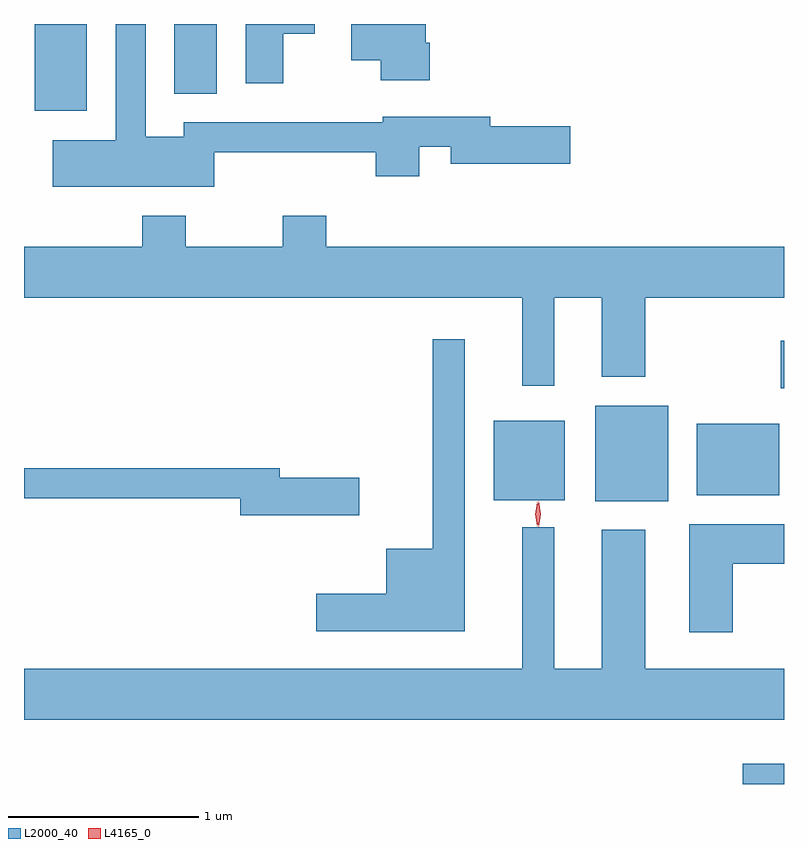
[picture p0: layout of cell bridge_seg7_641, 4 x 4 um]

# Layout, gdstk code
import gdstk
lib = gdstk.Library(unit=1e-6, precision=1e-09)
def R(c, l, rs):  # rectangles x0, y0, x1, y1
    for r in rs: c.add(gdstk.rectangle(r[:2], r[2:], *l))
def P(c, l, *ps):  # polygons
    for p in ps: c.add(gdstk.Polygon(p, *l))
L2000_40 = (2000, 40)
L4165_0 = (4165, 0)

bridge_seg7_641 = lib.new_cell('bridge_seg7_641')
R(bridge_seg7_641, L2000_40, [(872.811,1709.537,873.029,1709.644), (872.036,1711.026,872.419,1711.529), (871.501,1711.031,871.874,1711.449), (872.571,1711.056,873.004,1711.434), (873.011,1711.621,873.029,1711.869), (869.086,1713.081,869.359,1713.537), (869.821,1713.171,870.044,1713.537)])
P(bridge_seg7_641, L2000_40, [(871.164,1713.439),(871.144,1713.439),(871.144,1713.537),(870.751,1713.537),(870.751,1713.346),(870.906,1713.346),(870.906,1713.241),(871.164,1713.241)],
  [(870.029,1712.861),(870.881,1712.861),(870.881,1712.736),(871.109,1712.736),(871.109,1712.891),(871.276,1712.891),(871.276,1712.801),(871.904,1712.801),(871.904,1712.999),(871.484,1712.999),(871.484,1713.049),(870.916,1713.049),(870.916,1713.019),(869.871,1713.019),(869.871,1712.944),(869.669,1712.944),(869.669,1713.537),(869.511,1713.537),(869.511,1712.924),(869.181,1712.924),(869.181,1712.681),(870.029,1712.681)],
  [(870.394,1713.486),(870.559,1713.486),(870.559,1713.537),(870.196,1713.537),(870.196,1713.226),(870.394,1713.226)],
  [(871.819,1712.096),(872.071,1712.096),(872.071,1711.681),(872.299,1711.681),(872.299,1712.096),(873.029,1712.096),(873.029,1712.364),(870.619,1712.364),(870.619,1712.529),(870.391,1712.529),(870.391,1712.364),(869.879,1712.364),(869.879,1712.529),(869.651,1712.529),(869.651,1712.364),(869.029,1712.364),(869.029,1712.096),(871.651,1712.096),(871.651,1711.633),(871.819,1711.633)],
  [(871.349,1711.878),(871.181,1711.878),(871.181,1710.774),(870.936,1710.774),(870.936,1710.539),(870.566,1710.539),(870.566,1710.341),(871.349,1710.341)],
  [(870.794,1711.149),(870.374,1711.149),(870.374,1711.199),(869.029,1711.199),(869.029,1711.041),(870.166,1711.041),(870.166,1710.951),(870.794,1710.951)],
  [(872.759,1710.696),(873.029,1710.696),(873.029,1710.904),(872.531,1710.904),(872.531,1710.336),(872.759,1710.336)],
  [(873.029,1710.144),(872.299,1710.144),(872.299,1710.874),(872.071,1710.874),(872.071,1710.144),(871.819,1710.144),(871.819,1710.888),(871.651,1710.888),(871.651,1710.144),(869.029,1710.144),(869.029,1709.876),(873.029,1709.876)])
P(bridge_seg7_641, L4165_0, [(871.738,1710.889),(871.738,1710.89),(871.728,1710.958),(871.738,1711.026),(871.738,1711.026),(871.738,1711.026),(871.748,1710.958),(871.738,1710.89)],
  [(871.73,1710.893),(871.73,1710.893),(871.72,1710.957),(871.729,1711.021),(871.729,1711.022),(871.73,1711.021),(871.74,1710.957),(871.731,1710.893)])

lib.write_gds('bridge_seg7_641.gds')
